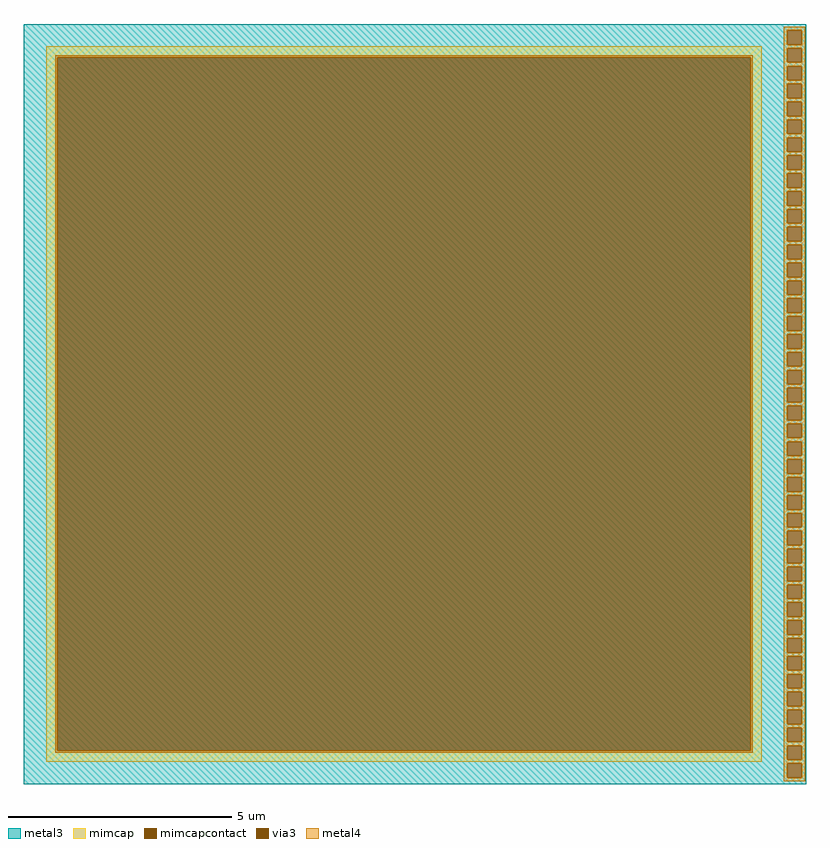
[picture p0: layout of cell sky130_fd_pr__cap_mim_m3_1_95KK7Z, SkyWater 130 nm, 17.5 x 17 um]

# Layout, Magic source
magic
tech sky130A
magscale 1 2
<< metal3 >>
rect -1750 1672 1749 1700
rect -1750 1608 1665 1672
rect 1729 1608 1749 1672
rect -1750 1592 1749 1608
rect -1750 1528 1665 1592
rect 1729 1528 1749 1592
rect -1750 1512 1749 1528
rect -1750 1448 1665 1512
rect 1729 1448 1749 1512
rect -1750 1432 1749 1448
rect -1750 1368 1665 1432
rect 1729 1368 1749 1432
rect -1750 1352 1749 1368
rect -1750 1288 1665 1352
rect 1729 1288 1749 1352
rect -1750 1272 1749 1288
rect -1750 1208 1665 1272
rect 1729 1208 1749 1272
rect -1750 1192 1749 1208
rect -1750 1128 1665 1192
rect 1729 1128 1749 1192
rect -1750 1112 1749 1128
rect -1750 1048 1665 1112
rect 1729 1048 1749 1112
rect -1750 1032 1749 1048
rect -1750 968 1665 1032
rect 1729 968 1749 1032
rect -1750 952 1749 968
rect -1750 888 1665 952
rect 1729 888 1749 952
rect -1750 872 1749 888
rect -1750 808 1665 872
rect 1729 808 1749 872
rect -1750 792 1749 808
rect -1750 728 1665 792
rect 1729 728 1749 792
rect -1750 712 1749 728
rect -1750 648 1665 712
rect 1729 648 1749 712
rect -1750 632 1749 648
rect -1750 568 1665 632
rect 1729 568 1749 632
rect -1750 552 1749 568
rect -1750 488 1665 552
rect 1729 488 1749 552
rect -1750 472 1749 488
rect -1750 408 1665 472
rect 1729 408 1749 472
rect -1750 392 1749 408
rect -1750 328 1665 392
rect 1729 328 1749 392
rect -1750 312 1749 328
rect -1750 248 1665 312
rect 1729 248 1749 312
rect -1750 232 1749 248
rect -1750 168 1665 232
rect 1729 168 1749 232
rect -1750 152 1749 168
rect -1750 88 1665 152
rect 1729 88 1749 152
rect -1750 72 1749 88
rect -1750 8 1665 72
rect 1729 8 1749 72
rect -1750 -8 1749 8
rect -1750 -72 1665 -8
rect 1729 -72 1749 -8
rect -1750 -88 1749 -72
rect -1750 -152 1665 -88
rect 1729 -152 1749 -88
rect -1750 -168 1749 -152
rect -1750 -232 1665 -168
rect 1729 -232 1749 -168
rect -1750 -248 1749 -232
rect -1750 -312 1665 -248
rect 1729 -312 1749 -248
rect -1750 -328 1749 -312
rect -1750 -392 1665 -328
rect 1729 -392 1749 -328
rect -1750 -408 1749 -392
rect -1750 -472 1665 -408
rect 1729 -472 1749 -408
rect -1750 -488 1749 -472
rect -1750 -552 1665 -488
rect 1729 -552 1749 -488
rect -1750 -568 1749 -552
rect -1750 -632 1665 -568
rect 1729 -632 1749 -568
rect -1750 -648 1749 -632
rect -1750 -712 1665 -648
rect 1729 -712 1749 -648
rect -1750 -728 1749 -712
rect -1750 -792 1665 -728
rect 1729 -792 1749 -728
rect -1750 -808 1749 -792
rect -1750 -872 1665 -808
rect 1729 -872 1749 -808
rect -1750 -888 1749 -872
rect -1750 -952 1665 -888
rect 1729 -952 1749 -888
rect -1750 -968 1749 -952
rect -1750 -1032 1665 -968
rect 1729 -1032 1749 -968
rect -1750 -1048 1749 -1032
rect -1750 -1112 1665 -1048
rect 1729 -1112 1749 -1048
rect -1750 -1128 1749 -1112
rect -1750 -1192 1665 -1128
rect 1729 -1192 1749 -1128
rect -1750 -1208 1749 -1192
rect -1750 -1272 1665 -1208
rect 1729 -1272 1749 -1208
rect -1750 -1288 1749 -1272
rect -1750 -1352 1665 -1288
rect 1729 -1352 1749 -1288
rect -1750 -1368 1749 -1352
rect -1750 -1432 1665 -1368
rect 1729 -1432 1749 -1368
rect -1750 -1448 1749 -1432
rect -1750 -1512 1665 -1448
rect 1729 -1512 1749 -1448
rect -1750 -1528 1749 -1512
rect -1750 -1592 1665 -1528
rect 1729 -1592 1749 -1528
rect -1750 -1608 1749 -1592
rect -1750 -1672 1665 -1608
rect 1729 -1672 1749 -1608
rect -1750 -1700 1749 -1672
<< via3 >>
rect 1665 1608 1729 1672
rect 1665 1528 1729 1592
rect 1665 1448 1729 1512
rect 1665 1368 1729 1432
rect 1665 1288 1729 1352
rect 1665 1208 1729 1272
rect 1665 1128 1729 1192
rect 1665 1048 1729 1112
rect 1665 968 1729 1032
rect 1665 888 1729 952
rect 1665 808 1729 872
rect 1665 728 1729 792
rect 1665 648 1729 712
rect 1665 568 1729 632
rect 1665 488 1729 552
rect 1665 408 1729 472
rect 1665 328 1729 392
rect 1665 248 1729 312
rect 1665 168 1729 232
rect 1665 88 1729 152
rect 1665 8 1729 72
rect 1665 -72 1729 -8
rect 1665 -152 1729 -88
rect 1665 -232 1729 -168
rect 1665 -312 1729 -248
rect 1665 -392 1729 -328
rect 1665 -472 1729 -408
rect 1665 -552 1729 -488
rect 1665 -632 1729 -568
rect 1665 -712 1729 -648
rect 1665 -792 1729 -728
rect 1665 -872 1729 -808
rect 1665 -952 1729 -888
rect 1665 -1032 1729 -968
rect 1665 -1112 1729 -1048
rect 1665 -1192 1729 -1128
rect 1665 -1272 1729 -1208
rect 1665 -1352 1729 -1288
rect 1665 -1432 1729 -1368
rect 1665 -1512 1729 -1448
rect 1665 -1592 1729 -1528
rect 1665 -1672 1729 -1608
<< mimcap >>
rect -1650 1552 1550 1600
rect -1650 -1552 -1602 1552
rect 1502 -1552 1550 1552
rect -1650 -1600 1550 -1552
<< mimcapcontact >>
rect -1602 -1552 1502 1552
<< metal4 >>
rect 1649 1672 1745 1688
rect 1649 1608 1665 1672
rect 1729 1608 1745 1672
rect 1649 1592 1745 1608
rect -1611 1552 1511 1561
rect -1611 -1552 -1602 1552
rect 1502 -1552 1511 1552
rect -1611 -1561 1511 -1552
rect 1649 1528 1665 1592
rect 1729 1528 1745 1592
rect 1649 1512 1745 1528
rect 1649 1448 1665 1512
rect 1729 1448 1745 1512
rect 1649 1432 1745 1448
rect 1649 1368 1665 1432
rect 1729 1368 1745 1432
rect 1649 1352 1745 1368
rect 1649 1288 1665 1352
rect 1729 1288 1745 1352
rect 1649 1272 1745 1288
rect 1649 1208 1665 1272
rect 1729 1208 1745 1272
rect 1649 1192 1745 1208
rect 1649 1128 1665 1192
rect 1729 1128 1745 1192
rect 1649 1112 1745 1128
rect 1649 1048 1665 1112
rect 1729 1048 1745 1112
rect 1649 1032 1745 1048
rect 1649 968 1665 1032
rect 1729 968 1745 1032
rect 1649 952 1745 968
rect 1649 888 1665 952
rect 1729 888 1745 952
rect 1649 872 1745 888
rect 1649 808 1665 872
rect 1729 808 1745 872
rect 1649 792 1745 808
rect 1649 728 1665 792
rect 1729 728 1745 792
rect 1649 712 1745 728
rect 1649 648 1665 712
rect 1729 648 1745 712
rect 1649 632 1745 648
rect 1649 568 1665 632
rect 1729 568 1745 632
rect 1649 552 1745 568
rect 1649 488 1665 552
rect 1729 488 1745 552
rect 1649 472 1745 488
rect 1649 408 1665 472
rect 1729 408 1745 472
rect 1649 392 1745 408
rect 1649 328 1665 392
rect 1729 328 1745 392
rect 1649 312 1745 328
rect 1649 248 1665 312
rect 1729 248 1745 312
rect 1649 232 1745 248
rect 1649 168 1665 232
rect 1729 168 1745 232
rect 1649 152 1745 168
rect 1649 88 1665 152
rect 1729 88 1745 152
rect 1649 72 1745 88
rect 1649 8 1665 72
rect 1729 8 1745 72
rect 1649 -8 1745 8
rect 1649 -72 1665 -8
rect 1729 -72 1745 -8
rect 1649 -88 1745 -72
rect 1649 -152 1665 -88
rect 1729 -152 1745 -88
rect 1649 -168 1745 -152
rect 1649 -232 1665 -168
rect 1729 -232 1745 -168
rect 1649 -248 1745 -232
rect 1649 -312 1665 -248
rect 1729 -312 1745 -248
rect 1649 -328 1745 -312
rect 1649 -392 1665 -328
rect 1729 -392 1745 -328
rect 1649 -408 1745 -392
rect 1649 -472 1665 -408
rect 1729 -472 1745 -408
rect 1649 -488 1745 -472
rect 1649 -552 1665 -488
rect 1729 -552 1745 -488
rect 1649 -568 1745 -552
rect 1649 -632 1665 -568
rect 1729 -632 1745 -568
rect 1649 -648 1745 -632
rect 1649 -712 1665 -648
rect 1729 -712 1745 -648
rect 1649 -728 1745 -712
rect 1649 -792 1665 -728
rect 1729 -792 1745 -728
rect 1649 -808 1745 -792
rect 1649 -872 1665 -808
rect 1729 -872 1745 -808
rect 1649 -888 1745 -872
rect 1649 -952 1665 -888
rect 1729 -952 1745 -888
rect 1649 -968 1745 -952
rect 1649 -1032 1665 -968
rect 1729 -1032 1745 -968
rect 1649 -1048 1745 -1032
rect 1649 -1112 1665 -1048
rect 1729 -1112 1745 -1048
rect 1649 -1128 1745 -1112
rect 1649 -1192 1665 -1128
rect 1729 -1192 1745 -1128
rect 1649 -1208 1745 -1192
rect 1649 -1272 1665 -1208
rect 1729 -1272 1745 -1208
rect 1649 -1288 1745 -1272
rect 1649 -1352 1665 -1288
rect 1729 -1352 1745 -1288
rect 1649 -1368 1745 -1352
rect 1649 -1432 1665 -1368
rect 1729 -1432 1745 -1368
rect 1649 -1448 1745 -1432
rect 1649 -1512 1665 -1448
rect 1729 -1512 1745 -1448
rect 1649 -1528 1745 -1512
rect 1649 -1592 1665 -1528
rect 1729 -1592 1745 -1528
rect 1649 -1608 1745 -1592
rect 1649 -1672 1665 -1608
rect 1729 -1672 1745 -1608
rect 1649 -1688 1745 -1672
<< properties >>
string FIXED_BBOX -1750 -1700 1650 1700
<< end >>
